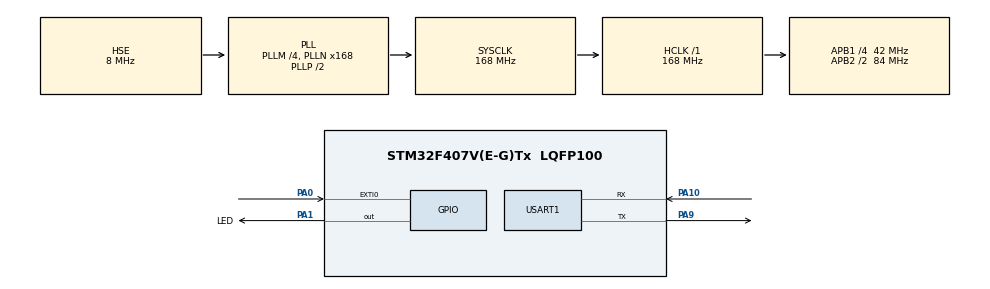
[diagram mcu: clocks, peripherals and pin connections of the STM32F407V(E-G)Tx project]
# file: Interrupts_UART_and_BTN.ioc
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Mcu.Family=STM32F4
Mcu.Name=STM32F407V(E-G)Tx
Mcu.Package=LQFP100
NVIC.EXTI0_IRQn=true\:3\:0\:true\:false\:true\:true\:true
NVIC.PriorityGroup=NVIC_PRIORITYGROUP_4
NVIC.TIM8_TRG_COM_TIM14_IRQn=true\:15\:0\:false\:false\:true\:false\:true
NVIC.TimeBase=TIM8_TRG_COM_TIM14_IRQn
NVIC.TimeBaseIP=TIM14
NVIC.USART1_IRQn=true\:0\:0\:false\:false\:true\:true\:true
PA0-WKUP.GPIO_ModeDefaultEXTI=GPIO_MODE_IT_RISING
PA0-WKUP.GPIO_PuPd=GPIO_PULLDOWN
PA0-WKUP.Signal=GPXTI0
PA1.GPIO_Label=LED
PA1.Signal=GPIO_Output
PA10.Mode=Asynchronous
PA10.Signal=USART1_RX
PA13.Mode=Trace_Asynchronous_SW
PA13.Signal=SYS_JTMS-SWDIO
PA14.Mode=Trace_Asynchronous_SW
PA14.Signal=SYS_JTCK-SWCLK
PA9.Mode=Asynchronous
PA9.Signal=USART1_TX
PB3.Mode=Trace_Asynchronous_SW
PB3.Signal=SYS_JTDO-SWO
PH0-OSC_IN.Mode=HSE-External-Oscillator
PH0-OSC_IN.Signal=RCC_OSC_IN
PH1-OSC_OUT.Mode=HSE-External-Oscillator
PH1-OSC_OUT.Signal=RCC_OSC_OUT
ProjectManager.HeapSize=0x200
ProjectManager.StackSize=0x400
ProjectManager.TargetToolchain=STM32CubeIDE
RCC.48MHZClocksFreq_Value=84000000
RCC.AHBFreq_Value=168000000
RCC.APB1CLKDivider=RCC_HCLK_DIV4
RCC.APB1Freq_Value=42000000
RCC.APB1TimFreq_Value=84000000
RCC.APB2CLKDivider=RCC_HCLK_DIV2
RCC.APB2Freq_Value=84000000
RCC.APB2TimFreq_Value=168000000
RCC.CortexFreq_Value=168000000
RCC.HCLKFreq_Value=168000000
RCC.HSE_VALUE=8000000
RCC.HSI_VALUE=16000000
RCC.LSE_VALUE=32768
RCC.PLLM=4
RCC.PLLN=168
RCC.PLLSourceVirtual=RCC_PLLSOURCE_HSE
RCC.SYSCLKFreq_VALUE=168000000
RCC.SYSCLKSource=RCC_SYSCLKSOURCE_PLLCLK
RCC.VCOOutputFreq_Value=336000000
USART1.VirtualMode=VM_ASYNC
VP_SYS_VS_tim14.Mode=TIM14
board=custom

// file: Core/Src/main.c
/* USER CODE BEGIN Header */
/**
  ******************************************************************************
  * @file           : main.c
  * @brief          : Main program body
  ******************************************************************************
  * @attention
  *
  * <h2><center>&copy; Copyright (c) 2021 STMicroelectronics.
  * All rights reserved.</center></h2>
  *
  * This software component is licensed by ST under BSD 3-Clause license,
  * the "License"; You may not use this file except in compliance with the
  * License. You may obtain a copy of the License at:
  *                        opensource.org/licenses/BSD-3-Clause
  *
  ******************************************************************************
  */
/* USER CODE END Header */
#include "main.h"

UART_HandleTypeDef huart1;

/* USER CODE BEGIN PV */
uint8_t str[1];
uint8_t flag_Received=0;    // Флаг получено
uint8_t flag_Transmitted=1; // Флаг передано
/* USER CODE END PV */

void SystemClock_Config(void);
static void MX_GPIO_Init(void);
static void MX_USART1_UART_Init(void);

int main(void)
{

  /* MCU Configuration--------------------------------------------------------*/

  /* Reset of all peripherals, Initializes the Flash interface and the Systick. */
  HAL_Init();

  /* Configure the system clock */
  SystemClock_Config();

  /* Initialize all configured peripherals */
  MX_GPIO_Init();
  MX_USART1_UART_Init();

  /* Infinite loop */
  /* USER CODE BEGIN WHILE */
  // Запустим прием данных. Иначе откуда нам ждать обратный вызов.
  HAL_UART_Receive_IT (&huart1, str, 1);
  while (1)
  {
    /* USER CODE END WHILE */

  }
}

void SystemClock_Config(void)
{
  RCC_OscInitTypeDef RCC_OscInitStruct = {0};
  RCC_ClkInitTypeDef RCC_ClkInitStruct = {0};

  /** Configure the main internal regulator output voltage
  */
  __HAL_RCC_PWR_CLK_ENABLE();
  __HAL_PWR_VOLTAGESCALING_CONFIG(PWR_REGULATOR_VOLTAGE_SCALE1);
  /** Initializes the RCC Oscillators according to the specified parameters
  * in the RCC_OscInitTypeDef structure.
  */
  RCC_OscInitStruct.OscillatorType = RCC_OSCILLATORTYPE_HSE;
  RCC_OscInitStruct.HSEState = RCC_HSE_ON;
  RCC_OscInitStruct.PLL.PLLState = RCC_PLL_ON;
  RCC_OscInitStruct.PLL.PLLSource = RCC_PLLSOURCE_HSE;
  RCC_OscInitStruct.PLL.PLLM = 4;
  RCC_OscInitStruct.PLL.PLLN = 168;
  RCC_OscInitStruct.PLL.PLLP = RCC_PLLP_DIV2;
  RCC_OscInitStruct.PLL.PLLQ = 4;
  if (HAL_RCC_OscConfig(&RCC_OscInitStruct) != HAL_OK)
  {
    Error_Handler();
  }
  /** Initializes the CPU, AHB and APB buses clocks
  */
  RCC_ClkInitStruct.ClockType = RCC_CLOCKTYPE_HCLK|RCC_CLOCKTYPE_SYSCLK
                              |RCC_CLOCKTYPE_PCLK1|RCC_CLOCKTYPE_PCLK2;
  RCC_ClkInitStruct.SYSCLKSource = RCC_SYSCLKSOURCE_PLLCLK;
  RCC_ClkInitStruct.AHBCLKDivider = RCC_SYSCLK_DIV1;
  RCC_ClkInitStruct.APB1CLKDivider = RCC_HCLK_DIV4;
  RCC_ClkInitStruct.APB2CLKDivider = RCC_HCLK_DIV2;

  if (HAL_RCC_ClockConfig(&RCC_ClkInitStruct, FLASH_LATENCY_5) != HAL_OK)
  {
    Error_Handler();
  }
}

static void MX_USART1_UART_Init(void)
{

  huart1.Instance = USART1;
  huart1.Init.BaudRate = 115200;
  huart1.Init.WordLength = UART_WORDLENGTH_8B;
  huart1.Init.StopBits = UART_STOPBITS_1;
  huart1.Init.Parity = UART_PARITY_NONE;
  huart1.Init.Mode = UART_MODE_TX_RX;
  huart1.Init.HwFlowCtl = UART_HWCONTROL_NONE;
  huart1.Init.OverSampling = UART_OVERSAMPLING_16;
  if (HAL_UART_Init(&huart1) != HAL_OK)
  {
    Error_Handler();
  }

}

static void MX_GPIO_Init(void)
{
  GPIO_InitTypeDef GPIO_InitStruct = {0};

  /* GPIO Ports Clock Enable */
  __HAL_RCC_GPIOH_CLK_ENABLE();
  __HAL_RCC_GPIOA_CLK_ENABLE();
  __HAL_RCC_GPIOB_CLK_ENABLE();

  /*Configure GPIO pin Output Level */
  HAL_GPIO_WritePin(LED_GPIO_Port, LED_Pin, GPIO_PIN_RESET);

  /*Configure GPIO pin : PA0 */
  GPIO_InitStruct.Pin = GPIO_PIN_0;
  GPIO_InitStruct.Mode = GPIO_MODE_IT_RISING;
  GPIO_InitStruct.Pull = GPIO_PULLDOWN;
  HAL_GPIO_Init(GPIOA, &GPIO_InitStruct);

  /*Configure GPIO pin : LED_Pin */
  GPIO_InitStruct.Pin = LED_Pin;
  GPIO_InitStruct.Mode = GPIO_MODE_OUTPUT_PP;
  GPIO_InitStruct.Pull = GPIO_NOPULL;
  GPIO_InitStruct.Speed = GPIO_SPEED_FREQ_LOW;
  HAL_GPIO_Init(LED_GPIO_Port, &GPIO_InitStruct);

  /* EXTI interrupt init*/
  HAL_NVIC_SetPriority(EXTI0_IRQn, 3, 0);
  HAL_NVIC_EnableIRQ(EXTI0_IRQn);

}

/* USER CODE BEGIN 4 */
// Определим callback-функции приема данных.
void HAL_UART_RxCpltCallback(UART_HandleTypeDef *huart) {

	if (huart == &huart1) {

		flag_Received = 1;

		if (flag_Transmitted != 0) {
			HAL_UART_Transmit_IT(&huart1, str, 1);
			flag_Received = 0;
			flag_Transmitted = 0;
		}

		HAL_UART_Receive_IT(&huart1, str, 1);
	}
}
// Определим callback-функции передачи данных.
void HAL_UART_TxCpltCallback(UART_HandleTypeDef *huart) {

	if (huart == &huart1) {

		flag_Transmitted = 1;

		if (flag_Received != 0) {
			HAL_UART_Transmit_IT(&huart1, str, 1);
			flag_Received = 0;
			flag_Transmitted = 0;
		}
	}
}
/* USER CODE END 4 */

void HAL_TIM_PeriodElapsedCallback(TIM_HandleTypeDef *htim)
{
  if (htim->Instance == TIM14) {
    HAL_IncTick();
  }
}

void Error_Handler(void)
{
  __disable_irq();
  while (1)
  {
  }
}

/************************ (C) COPYRIGHT STMicroelectronics *****END OF FILE****/
